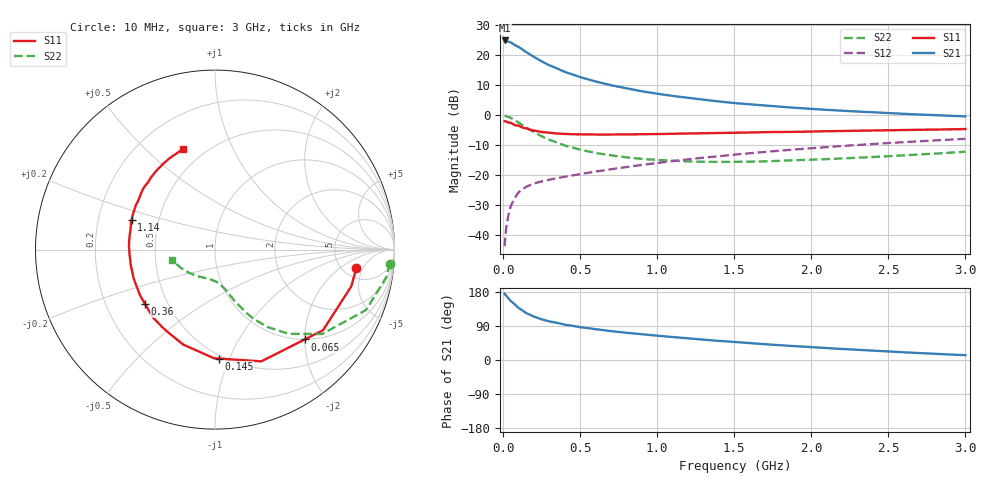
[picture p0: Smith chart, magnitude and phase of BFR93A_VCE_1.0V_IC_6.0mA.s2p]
! Infineon Technologies  Discrete & RF Semiconductors
! BFR93A
! VCE =  1.0 V,  IC =  6.0 mA
! Common Emitter S-Parameters:  Nov 2015
# GHz  S  MA  R  50
!  f  S11  S21  S12  S22
! GHz  MAG  ANG  MAG  ANG  MAG  ANG  MAG  ANG
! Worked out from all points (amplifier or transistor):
!   180 points, 10 MHz to 3 GHz, reference 50 ohm
!   highest |S21| = 24.9 dB at 10 MHz (marker M1)
!   |S21| within 3 dB of that: start of sweep to 124.5 MHz
!   unconditionally stable (mu >= 1): 652.5 MHz to end of sweep
!   at 160 MHz: K = 0.39, MSG = 22.2 dB, |S12| = -23.6 dB
!   at 1.22 GHz: K = 1.14, MAG = 7.8 dB, |S12| = -14.6 dB
!   at 3 GHz: K = 1.03, MAG = 2.7 dB, |S12| = -7.9 dB
!   S11 on the Smith chart (normalised r, x): 10 MHz: 6.56, -3.73; 65 MHz: 1.00, -2.00; 145 MHz: 0.48, -0.91; 360 MHz: 0.37, -0.30; 1.14 GHz: 0.35, +0.15; 3 GHz: 0.38, +0.66
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0.01  0.7942 -7.6  17.58 174.7  0.0066 86.0  0.9774 -4.6
0.02  0.7864 -15.1  17.37 169.6  0.0131 81.4  0.9671 -9.1
0.05  0.7511 -36.7  16.3 155.6  0.0307 71.8  0.9063 -21.8
0.065  0.707 -45.1  15.38 150.8  0.0368 66.5  0.8556 -26.1
0.1  0.6739 -67.5  13.75 137.3  0.0519 59.1  0.76 -38.2
0.145  0.6072 -88.1  11.47 125.4  0.0631 52.1  0.6362 -47.5
0.15  0.6052 -90.6  11.25 123.8  0.0644 51.5  0.6237 -48.8
0.2  0.5578 -108.6  9.337 114.4  0.073 47.9  0.5218 -55.8
0.24  0.5305 -119.3  8.156 108.8  0.0779 46.3  0.4603 -59.5
0.26  0.5225 -124.1  7.652 106.2  0.0802 45.8  0.434 -61.2
0.3  0.5124 -132.5  6.786 101.8  0.0845 45.4  0.3894 -63.9
0.36  0.4938 -142.0  5.86 97.2  0.0905 45.8  0.3434 -66.5
0.4  0.4893 -148.6  5.27 93.2  0.0945 46.0  0.3132 -68.7
0.52  0.4792 -162.3  4.175 85.7  0.1067 47.5  0.2608 -72.3
0.7  0.4771 -176.4  3.159 76.2  0.126 49.7  0.2144 -77.7
0.88  0.4815 172.6  2.562 68.8  0.1463 51.1  0.1895 -83.5
1.02  0.4847 165.9  2.241 63.4  0.1627 51.5  0.1789 -88.1
1.14  0.4931 160.6  2.036 59.2  0.1771 51.6  0.1728 -93.0
1.52  0.5091 146.3  1.579 46.8  0.223 50.5  0.1675 -108.8
2.02  0.5371 131.7  1.265 33.5  0.2847 47.0  0.1824 -129.3
2.52  0.5627 119.0  1.079 22.1  0.3468 41.7  0.2093 -148.4
3  0.5884 107.6  0.956 12.7  0.4047 35.6  0.2466 -166.8
